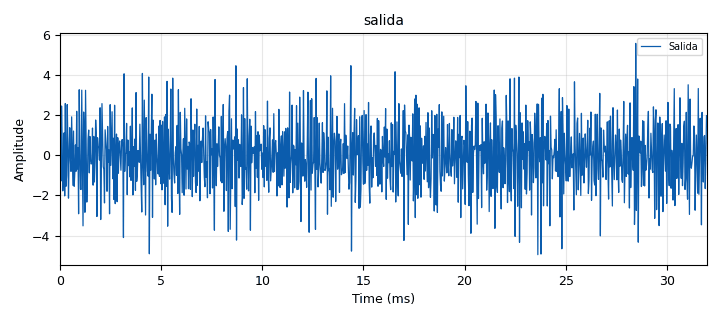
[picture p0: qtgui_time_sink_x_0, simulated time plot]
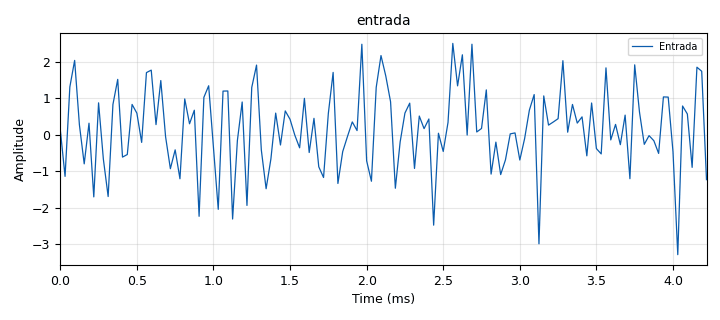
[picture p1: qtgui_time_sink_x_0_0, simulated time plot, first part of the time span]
options:
  parameters:
    author: manue
    generate_options: qt_gui
    id: aplicacion
    output_language: python
    title: Not titled yet
  states: {}

blocks:
- name: samp_rate
  id: variable
  parameters:
    value: '32000'
  states: {}
- name: analog_noise_source_x_0
  id: analog_noise_source_x
  parameters:
    amp: '1'
    noise_type: analog.GR_GAUSSIAN
    seed: '0'
    type: float
  states: {}
- name: analog_sig_source_x_0
  id: analog_sig_source_x
  parameters:
    amp: '1'
    freq: '10000'
    offset: '-0.5'
    phase: '0'
    samp_rate: samp_rate
    type: float
    waveform: analog.GR_SQR_WAVE
  states: {}
- name: analog_sig_source_x_0_0
  id: analog_sig_source_x
  parameters:
    amp: '1'
    freq: '10'
    offset: '0'
    phase: '0'
    samp_rate: samp_rate
    type: float
    waveform: analog.GR_SQR_WAVE
  states: {}
- name: blocks_add_xx_0
  id: blocks_add_xx
  parameters:
    num_inputs: '3'
    type: float
  states: {}
- name: epy_block_0
  id: epy_block
  parameters:
    _source_code: |-
      import numpy as np
      from gnuradio import gr

      class blk(gr.sync_block):
          def __init__(self):
              gr.sync_block.__init__(self,
                  name='Promedios_de_tiempos',
                  in_sig=[np.float32],
                  out_sig=[np.float32, np.float32])  # Solo 2 salidas: RMS y Desviación
              
              self.acum_anterior = 0      # Para suma de x
              self.acum_anterior1 = 0     # Para suma de x²
              self.acum_anterior2 = 0     # Para suma de (x-media)²
              self.Ntotales = 0

          def work(self, input_items, output_items):
              x = input_items[0]
              y0 = output_items[0]  # RMS
              y1 = output_items[1]  # Desviación estándar

              N = len(x)
              self.Ntotales += N

              # Cálculo del promedio (necesario para desviación)
              suma_total_parcial = np.sum(x) + self.acum_anterior
              self.acum_anterior = suma_total_parcial
              promedio = suma_total_parcial / self.Ntotales

              # Media Cuadrática (para RMS)
              x2 = x * x
              suma_cuadrados_parcial = np.sum(x2) + self.acum_anterior1
              self.acum_anterior1 = suma_cuadrados_parcial
              media_cuadratica = suma_cuadrados_parcial / self.Ntotales

              # RMS (salida 0)
              y0[:] = np.sqrt(media_cuadratica)

              # Desviación Estándar (salida 1)
              x3 = (x - promedio) ** 2
              suma_var_parcial = np.sum(x3) + self.acum_anterior2
              self.acum_anterior2 = suma_var_parcial
              y1[:] = np.sqrt(suma_var_parcial / self.Ntotales)

              return len(x)
  states: {}
- name: epy_block_0_0
  id: epy_block
  parameters:
    _source_code: |-
      from gnuradio import gr
      import numpy as np

      class blk(gr.sync_block):
          def __init__(self):
              gr.sync_block.__init__(self,
                  name="Diferenciador",
                  in_sig=[np.float32],
                  out_sig=[np.float32])
              
              # CAMBIO 1: Variable movida al lugar correcto (dentro de __init__)
              self.acum_anterior = 0.0
              
              # MEJORA: Variable para detectar cambios bruscos
              self.ultimo_valor = 0.0

          def work(self, input_items, output_items):
              x = input_items[0]  # señal de entrada
              y = output_items[0]  # señal diferenciada
              
              for i in range(len(x)):
                  # CAMBIO 2: Cálculo correcto del diferenciador
                  # Original: diff = np.cumsum(x) - self.acum_anterior (incorrecto)
                  # Ahora: diferencia muestra a muestra
                  y[i] = x[i] - self.acum_anterior
                  self.acum_anterior = x[i]
              
              # MEJORA: Detectar si hubo un cambio muy brusco
              if abs(x[0] - self.ultimo_valor) > 10.0:
                  print(f" Cambio brusco detectado: {abs(x[0] - self.ultimo_valor):.2f}")
              
              self.ultimo_valor = x[-1]  # Guardar último valor para próxima vez
              
              return len(y)
  states: {}
- name: qtgui_number_sink_0_0
  id: qtgui_number_sink
  parameters:
    graph_type: qtgui.NUM_GRAPH_HORIZ
    name: '"Desviación Estandar"'
    type: float
  states: {}
- name: qtgui_number_sink_0_3
  id: qtgui_number_sink
  parameters:
    graph_type: qtgui.NUM_GRAPH_HORIZ
    name: '"RMS"'
    type: float
  states: {}
- name: qtgui_time_sink_x_0
  id: qtgui_time_sink_x
  parameters:
    autoscale: 'True'
    label1: Salida
    name: salida
    size: '1024'
    srate: samp_rate
    type: float
  states: {}
- name: qtgui_time_sink_x_0_0
  id: qtgui_time_sink_x
  parameters:
    autoscale: 'True'
    color1: red
    label1: Entrada
    name: entrada
    size: '1024'
    srate: samp_rate
    type: float
  states: {}

connections:
- [analog_noise_source_x_0, '0', blocks_add_xx_0, '1']
- [analog_sig_source_x_0, '0', blocks_add_xx_0, '0']
- [analog_sig_source_x_0_0, '0', blocks_add_xx_0, '2']
- [blocks_add_xx_0, '0', epy_block_0, '0']
- [blocks_add_xx_0, '0', epy_block_0_0, '0']
- [blocks_add_xx_0, '0', qtgui_time_sink_x_0_0, '0']
- [epy_block_0, '0', qtgui_number_sink_0_3, '0']
- [epy_block_0, '1', qtgui_number_sink_0_0, '0']
- [epy_block_0_0, '0', qtgui_time_sink_x_0, '0']

metadata:
  file_format: 1
  grc_version: 3.10.12.0
